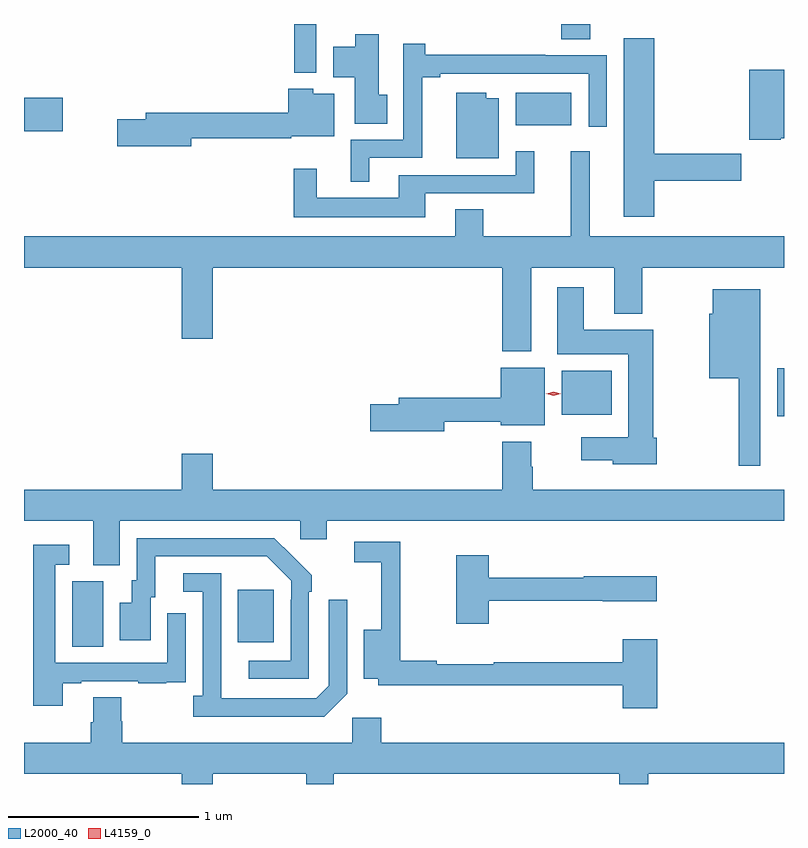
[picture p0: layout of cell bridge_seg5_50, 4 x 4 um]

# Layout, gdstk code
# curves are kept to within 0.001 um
import gdstk
lib = gdstk.Library(unit=1e-6, precision=1e-09)
def R(c, l, rs):  # rectangles x0, y0, x1, y1
    for r in rs: c.add(gdstk.rectangle(r[:2], r[2:], *l))
def P(c, l, *ps):  # polygons
    for p in ps: c.add(gdstk.Polygon(p, *l))
L2000_40 = (2000, 40)
L4159_0 = (4159, 0)

bridge_seg5_50 = lib.new_cell('bridge_seg5_50')
R(bridge_seg5_50, L2000_40, [(727.868,845.44,728.032,845.784), (728.741,845.465,728.929,845.74), (731.579,846.653,731.615,846.907), (730.445,846.662,730.708,846.892), (727.615,848.153,727.819,848.331), (730.202,848.186,730.495,848.356), (729.037,848.462,729.153,848.718), (730.442,848.638,730.594,848.718)])
P(bridge_seg5_50, L2000_40, [(729.527,848.346),(729.481,848.346),(729.481,848.665),(729.359,848.665),(729.359,848.599),(729.242,848.599),(729.242,848.438),(729.356,848.438),(729.356,848.194),(729.527,848.194)],
  [(730.931,847.894),(731.389,847.894),(731.389,848.036),(730.931,848.036),(730.931,848.644),(730.772,848.644),(730.772,847.704),(730.931,847.704)],
  [(729.433,848.013),(729.71,848.013),(729.71,848.437),(729.805,848.437),(729.805,848.457),(730.587,848.457),(730.587,848.178),(730.683,848.178),(730.683,848.553),(730.358,848.553),(730.358,848.555),(729.728,848.555),(729.728,848.614),(729.612,848.614),(729.612,848.109),(729.335,848.109),(729.335,847.889),(729.433,847.889)],
  [(731.598,848.116),(731.615,848.116),(731.615,848.476),(731.432,848.476),(731.432,848.108),(731.598,848.108)],
  [(728.494,848.116),(729.021,848.116),(729.021,848.126),(729.247,848.126),(729.247,848.35),(729.138,848.35),(729.138,848.377),(729.005,848.377),(729.005,848.252),(728.255,848.252),(728.255,848.216),(728.106,848.216),(728.106,848.074),(728.494,848.074)],
  [(730.114,848.326),(730.048,848.326),(730.048,848.356),(729.89,848.356),(729.89,848.012),(730.114,848.012)],
  [(729.727,847.827),(730.301,847.827),(730.301,848.047),(730.203,848.047),(730.203,847.923),(729.587,847.923),(729.587,847.804),(729.157,847.804),(729.157,847.957),(729.036,847.957),(729.036,847.7),(729.727,847.7)],
  [(730.285,847.436),(730.721,847.436),(730.721,847.193),(730.869,847.193),(730.869,847.436),(731.615,847.436),(731.615,847.6),(730.592,847.6),(730.592,848.047),(730.493,848.047),(730.493,847.6),(730.032,847.6),(730.032,847.742),(729.884,847.742),(729.884,847.6),(727.615,847.6),(727.615,847.436),(728.444,847.436),(728.444,847.062),(728.608,847.062),(728.608,847.436),(730.133,847.436),(730.133,846.995),(730.285,846.995)],
  [(730.944,846.54),(730.926,846.54),(730.926,847.108),(730.561,847.108),(730.561,847.333),(730.421,847.333),(730.421,846.98),(730.796,846.98),(730.796,846.544),(730.548,846.544),(730.548,846.422),(730.713,846.422),(730.713,846.401),(730.944,846.401)],
  [(731.491,847.321),(731.24,847.321),(731.24,847.194),(731.222,847.194),(731.222,846.854),(731.377,846.854),(731.377,846.393),(731.491,846.393)],
  [(729.826,846.624),(730.124,846.624),(730.124,846.605),(730.357,846.605),(730.357,846.91),(730.124,846.91),(730.124,846.752),(729.587,846.752),(729.587,846.716),(729.438,846.716),(729.438,846.574),(729.826,846.574)],
  [(728.119,846.104),(729.069,846.104),(729.069,846.006),(729.208,846.006),(729.208,846.104),(731.615,846.104),(731.615,846.268),(730.293,846.268),(730.293,846.389),(730.285,846.389),(730.285,846.52),(730.133,846.52),(730.133,846.268),(728.608,846.268),(728.608,846.457),(728.444,846.457),(728.444,846.268),(727.615,846.268),(727.615,846.104),(727.979,846.104),(727.979,845.869),(728.119,845.869)],
  [(729.114,845.729),(729.129,845.729),(729.129,845.817),(728.932,846.012),(728.208,846.012),(728.208,845.79),(728.183,845.79),(728.183,845.671),(728.12,845.671),(728.12,845.475),(728.281,845.475),(728.281,845.7),(728.305,845.7),(728.305,845.916),(728.893,845.916),(729.021,845.787),(729.021,845.687),(729.018,845.687),(729.018,845.367),(728.799,845.367),(728.799,845.271),(729.114,845.271)],
  [(730.949,845.479),(730.766,845.479),(730.766,845.359),(730.088,845.359),(730.088,845.348),(729.788,845.348),(729.788,845.366),(729.596,845.366),(729.596,845.994),(729.354,845.994),(729.354,845.886),(729.494,845.886),(729.494,845.53),(729.404,845.53),(729.404,845.273),(729.48,845.273),(729.48,845.238),(730.766,845.238),(730.766,845.118),(730.949,845.118)],
  [(727.819,845.247),(727.915,845.247),(727.915,845.259),(728.215,845.259),(728.215,845.247),(728.363,845.247),(728.363,845.253),(728.465,845.253),(728.465,845.362),(728.466,845.362),(728.466,845.617),(728.37,845.617),(728.37,845.355),(727.779,845.355),(727.779,845.871),(727.852,845.871),(727.852,845.977),(727.663,845.977),(727.663,845.13),(727.819,845.13)],
  [(730.061,845.682),(730.66,845.682),(730.66,845.681),(730.945,845.681),(730.945,845.811),(730.56,845.811),(730.56,845.803),(730.061,845.803),(730.061,845.923),(729.89,845.923),(729.89,845.562),(730.061,845.562)],
  [(729.315,845.193),(729.315,845.689),(729.219,845.689),(729.219,845.235),(729.153,845.169),(728.653,845.169),(728.652,845.826),(728.454,845.826),(728.454,845.73),(728.556,845.73),(728.556,845.182),(728.505,845.182),(728.505,845.072),(729.194,845.072)],
  [(728.444,844.718),(728.608,844.718),(728.608,844.772),(729.1,844.772),(729.1,844.718),(729.246,844.718),(729.246,844.772),(730.748,844.772),(730.748,844.718),(730.901,844.718),(730.901,844.772),(731.615,844.772),(731.615,844.936),(729.494,844.936),(729.494,845.068),(729.342,845.068),(729.342,844.936),(728.132,844.936),(728.132,845.049),(728.127,845.049),(728.127,845.174),(727.979,845.174),(727.979,845.042),(727.967,845.042),(727.967,844.936),(727.615,844.936),(727.615,844.772),(728.444,844.772)])
P(bridge_seg5_50, L4159_0, [(730.402,846.762),(730.363,846.771),(730.363,846.771),(730.363,846.772),(730.402,846.782),(730.44,846.772),(730.44,846.772),(730.44,846.772)])

lib.write_gds('bridge_seg5_50.gds')
